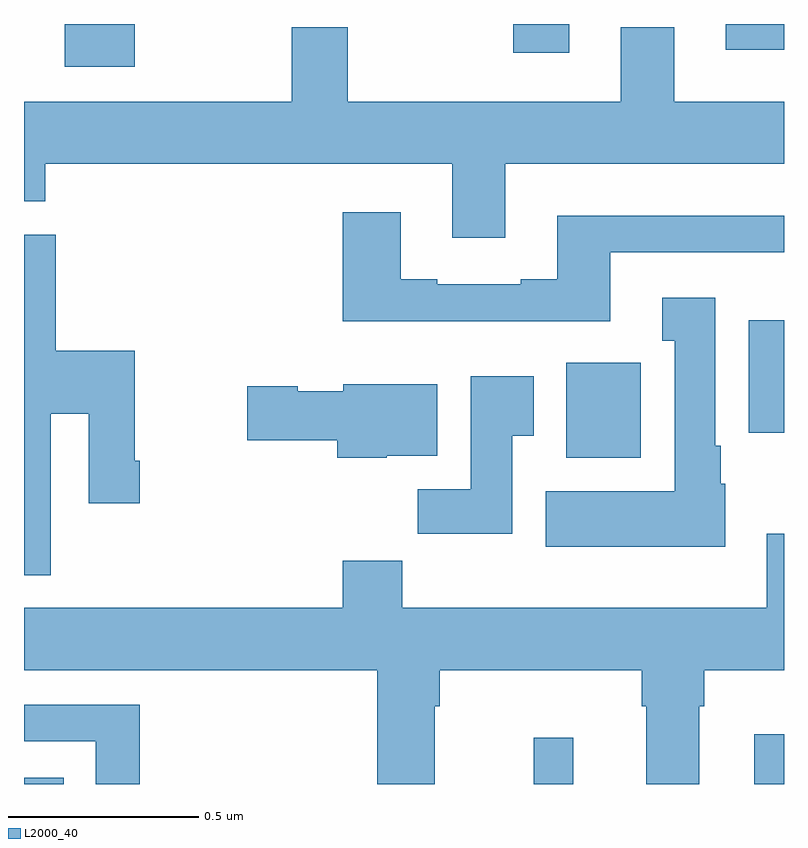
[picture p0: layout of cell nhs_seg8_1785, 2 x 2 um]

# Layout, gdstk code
import gdstk
lib = gdstk.Library(unit=1e-6, precision=1e-09)
def R(c, l, rs):  # rectangles x0, y0, x1, y1
    for r in rs: c.add(gdstk.rectangle(r[:2], r[2:], *l))
def P(c, l, *ps):  # polygons
    for p in ps: c.add(gdstk.Polygon(p, *l))
L2000_40 = (2000, 40)

nhs_seg8_1785 = lib.new_cell('nhs_seg8_1785')
R(nhs_seg8_1785, L2000_40, [(135,1082.9,135.104,1082.917), (136.342,1082.9,136.445,1083.022), (136.922,1082.9,137,1083.031), (136.427,1083.758,136.623,1084.009), (136.907,1083.824,137,1084.12), (135.107,1084.787,135.292,1084.9), (136.288,1084.824,136.435,1084.9), (136.847,1084.832,137,1084.9)])
P(nhs_seg8_1785, L2000_40, [(136.267,1084.532),(137,1084.532),(137,1084.696),(136.711,1084.696),(136.711,1084.891),(136.571,1084.891),(136.571,1084.696),(135.852,1084.696),(135.852,1084.891),(135.704,1084.891),(135.704,1084.696),(135,1084.696),(135,1084.433),(135.056,1084.433),(135.056,1084.532),(136.127,1084.532),(136.127,1084.338),(136.267,1084.338)],
  [(136.543,1084.299),(137,1084.299),(137,1084.396),(136.403,1084.396),(136.403,1084.228),(136.307,1084.228),(136.307,1084.215),(136.087,1084.215),(136.087,1084.228),(135.991,1084.228),(135.991,1084.405),(135.839,1084.405),(135.839,1084.118),(136.543,1084.118)],
  [(135.07,1083.875),(135.17,1083.875),(135.17,1083.639),(135.305,1083.639),(135.305,1083.751),(135.292,1083.751),(135.292,1084.04),(135.083,1084.04),(135.083,1084.346),(135,1084.346),(135,1083.45),(135.07,1083.45)],
  [(136.846,1083.69),(136.834,1083.69),(136.834,1083.79),(136.819,1083.79),(136.819,1084.18),(136.679,1084.18),(136.679,1084.067),(136.712,1084.067),(136.712,1083.67),(136.373,1083.67),(136.373,1083.524),(136.846,1083.524)],
  [(136.285,1083.817),(136.342,1083.817),(136.342,1083.973),(136.175,1083.973),(136.175,1083.676),(136.036,1083.676),(136.036,1083.558),(136.285,1083.558)],
  [(135.954,1083.764),(136.087,1083.764),(136.087,1083.952),(135.84,1083.952),(135.84,1083.934),(135.72,1083.934),(135.72,1083.947),(135.588,1083.947),(135.588,1083.805),(135.824,1083.805),(135.824,1083.758),(135.954,1083.758)],
  [(135.995,1083.488),(135.839,1083.488),(135.839,1083.364),(135,1083.364),(135,1083.2),(135.929,1083.2),(135.929,1082.9),(136.081,1082.9),(136.081,1083.104),(136.094,1083.104),(136.094,1083.2),(136.625,1083.2),(136.625,1083.104),(136.637,1083.104),(136.637,1082.9),(136.777,1082.9),(136.777,1083.104),(136.79,1083.104),(136.79,1083.2),(137,1083.2),(137,1083.559),(136.955,1083.559),(136.955,1083.364),(135.995,1083.364)],
  [(135.305,1083.108),(135,1083.108),(135,1083.012),(135.189,1083.012),(135.189,1082.9),(135.305,1082.9)])

lib.write_gds('nhs_seg8_1785.gds')
